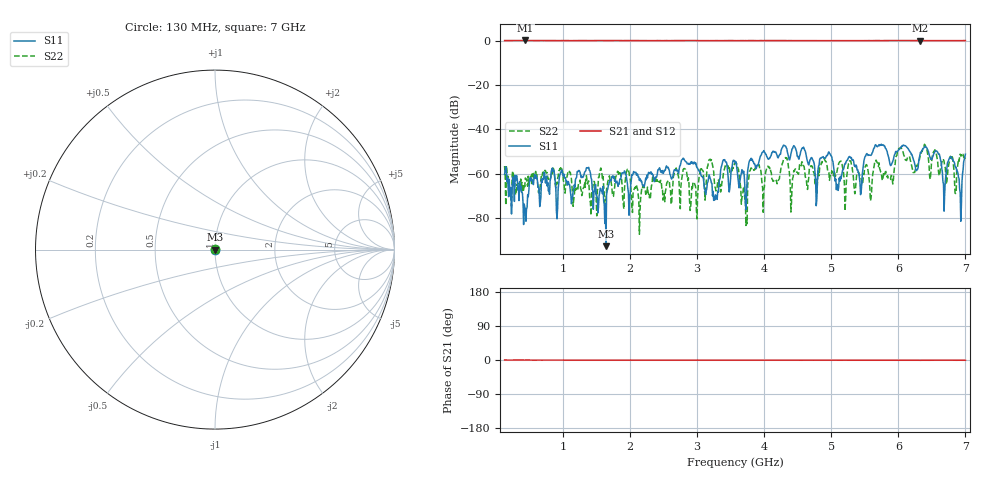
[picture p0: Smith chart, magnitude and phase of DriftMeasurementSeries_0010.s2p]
# Hz S RI R 50.000000
! Metas.Vna.Tools, 2.8.8664.20301
! Metas.Vna.Data, 2.8.8664.20285
! Created: UTC 2024.02.11 10:08:09
! FREQ  re:S1,1  im:S1,1  re:S2,1  im:S2,1  re:S1,2  im:S1,2  re:S2,2  im:S2,2
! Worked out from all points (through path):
!   801 points, 130 MHz to 7 GHz, reference 50 ohm
!   highest |S21| = 0.04 dB at 439.1 MHz (marker M1); lowest = -0.1 dB at 6.33 GHz (marker M2)
!   lowest |S11| = -92.5 dB at 1.641 GHz (marker M3), VSWR 1.00, Z = 50 - j0.00236 ohm
!   |S11| at or under -10 dB: start of sweep to end of sweep
!   |S22| runs from -87.1 to -46.7 dB; largest |S21 - S12| = 0.0076
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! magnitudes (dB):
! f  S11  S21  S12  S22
! 130 MHz  -60.1  0.0  0.0  -56.4
! 439.1 MHz  -75.6  0.0  0.0  -61.8
! 542.2 MHz  -62.8  0.0  0.0  -60.0
! 1.281 GHz  -61.0  0.0  0.0  -69.7
! 1.641 GHz  -92.5  0.0  0.0  -72.0
! 2.423 GHz  -58.1  0.0  0.0  -63.7
! 2.947 GHz  -55.5  0.0  0.0  -63.6
! 3.264 GHz  -71.7  0.0  0.0  -65.7
! 3.565 GHz  -54.3  0.0  0.0  -54.9
! 3.711 GHz  -65.0  0.0  0.0  -71.4
! 3.891 GHz  -56.1  0.0  0.0  -57.2
! 4.716 GHz  -53.0  0.0  0.0  -56.5
! 4.982 GHz  -51.0  0.0  0.0  -61.2
! 5.094 GHz  -65.9  0.0  0.0  -57.4
! 5.858 GHz  -52.8  0.0  0.0  -62.3
! 6.021 GHz  -48.8  0.0  0.0  -48.4
! 6.33 GHz  -50.3  -0.1  0.0  -51.6
! 6.588 GHz  -50.2  0.0  0.0  -54.9
! 6.682 GHz  -76.7  0.0  0.0  -54.4
! 6.794 GHz  -52.7  0.0  0.0  -51.6
! 6.923 GHz  -68.4  0.0  0.0  -51.1
! 7 GHz  -51.1  0.0  0.0  -53.2
